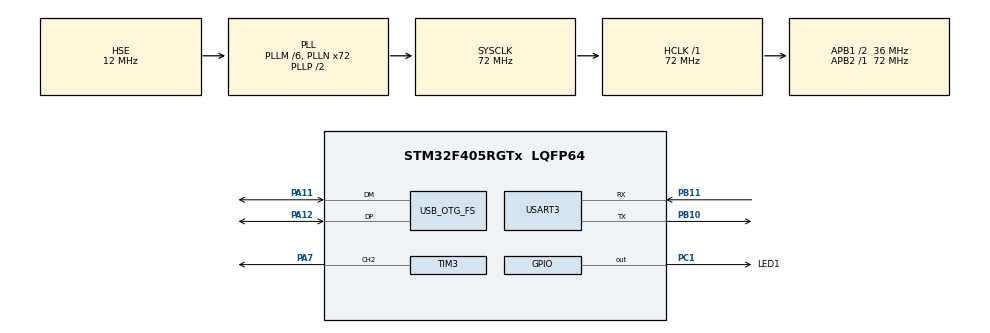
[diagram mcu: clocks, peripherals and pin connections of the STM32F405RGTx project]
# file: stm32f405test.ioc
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Dma.Request0=USART3_RX
Dma.Request1=USART3_TX
Dma.USART3_RX.0.Direction=DMA_PERIPH_TO_MEMORY
Dma.USART3_RX.0.FIFOMode=DMA_FIFOMODE_DISABLE
Dma.USART3_RX.0.Instance=DMA1_Stream1
Dma.USART3_RX.0.MemDataAlignment=DMA_MDATAALIGN_BYTE
Dma.USART3_RX.0.MemInc=DMA_MINC_ENABLE
Dma.USART3_RX.0.Mode=DMA_NORMAL
Dma.USART3_RX.0.PeriphDataAlignment=DMA_PDATAALIGN_BYTE
Dma.USART3_RX.0.PeriphInc=DMA_PINC_DISABLE
Dma.USART3_RX.0.Priority=DMA_PRIORITY_LOW
Dma.USART3_TX.1.Direction=DMA_MEMORY_TO_PERIPH
Dma.USART3_TX.1.FIFOMode=DMA_FIFOMODE_DISABLE
Dma.USART3_TX.1.Instance=DMA1_Stream3
Dma.USART3_TX.1.MemDataAlignment=DMA_MDATAALIGN_BYTE
Dma.USART3_TX.1.MemInc=DMA_MINC_ENABLE
Dma.USART3_TX.1.Mode=DMA_CIRCULAR
Dma.USART3_TX.1.PeriphDataAlignment=DMA_PDATAALIGN_BYTE
Dma.USART3_TX.1.PeriphInc=DMA_PINC_DISABLE
Dma.USART3_TX.1.Priority=DMA_PRIORITY_LOW
Mcu.Family=STM32F4
Mcu.Name=STM32F405RGTx
Mcu.Package=LQFP64
NVIC.DMA1_Stream1_IRQn=true\:0\:0\:false\:false\:true\:false\:true\:true
NVIC.DMA1_Stream3_IRQn=true\:0\:0\:false\:false\:true\:false\:true\:true
NVIC.OTG_FS_IRQn=true\:0\:0\:false\:false\:true\:false\:true\:true
NVIC.PriorityGroup=NVIC_PRIORITYGROUP_4
NVIC.TIM2_IRQn=true\:0\:0\:false\:false\:true\:true\:true\:true
NVIC.TIM3_IRQn=true\:0\:0\:false\:false\:true\:true\:true\:true
NVIC.USART3_IRQn=true\:0\:0\:false\:false\:true\:true\:true\:true
PA11.Mode=Device_Only
PA11.Signal=USB_OTG_FS_DM
PA12.Mode=Device_Only
PA12.Signal=USB_OTG_FS_DP
PA13.Mode=Serial_Wire
PA13.Signal=SYS_JTMS-SWDIO
PA14.Mode=Serial_Wire
PA14.Signal=SYS_JTCK-SWCLK
PA7.Signal=S_TIM3_CH2
PB10.Mode=Asynchronous
PB10.Signal=USART3_TX
PB11.Mode=Asynchronous
PB11.Signal=USART3_RX
PC1.GPIO_Label=LED1
PC1.Signal=GPIO_Output
PC14-OSC32_IN.Mode=LSE-External-Oscillator
PC14-OSC32_IN.Signal=RCC_OSC32_IN
PC15-OSC32_OUT.Mode=LSE-External-Oscillator
PC15-OSC32_OUT.Signal=RCC_OSC32_OUT
PH0-OSC_IN.Mode=HSE-External-Oscillator
PH0-OSC_IN.Signal=RCC_OSC_IN
PH1-OSC_OUT.Mode=HSE-External-Oscillator
PH1-OSC_OUT.Signal=RCC_OSC_OUT
ProjectManager.HeapSize=0x200
ProjectManager.StackSize=0x400
ProjectManager.TargetToolchain=Makefile
RCC.48MHZClocksFreq_Value=48000000
RCC.AHBFreq_Value=72000000
RCC.APB1CLKDivider=RCC_HCLK_DIV2
RCC.APB1Freq_Value=36000000
RCC.APB1TimFreq_Value=72000000
RCC.APB2Freq_Value=72000000
RCC.APB2TimFreq_Value=72000000
RCC.CortexFreq_Value=72000000
RCC.HCLKFreq_Value=72000000
RCC.HSE_VALUE=12000000
RCC.HSI_VALUE=16000000
RCC.PLLM=6
RCC.PLLN=72
RCC.PLLQ=3
RCC.SYSCLKFreq_VALUE=72000000
RCC.SYSCLKSource=RCC_SYSCLKSOURCE_PLLCLK
RCC.VCOOutputFreq_Value=144000000
SH.S_TIM3_CH2.0=TIM3_CH2,Output Compare2 CH2
TIM2.AutoReloadPreload=TIM_AUTORELOAD_PRELOAD_DISABLE
TIM2.Channel-PWM\ Generation1\ No\ Output=TIM_CHANNEL_1
TIM2.Period=1000
TIM2.Prescaler=7200
TIM3.AutoReloadPreload=TIM_AUTORELOAD_PRELOAD_DISABLE
TIM3.Channel-Output\ Compare2\ CH2=TIM_CHANNEL_2
TIM3.OCMode_2=TIM_OCMODE_TOGGLE
TIM3.Period=1000
TIM3.Prescaler=72-1
USART3.VirtualMode=VM_ASYNC
USB_DEVICE.CLASS_NAME_FS=CDC
USB_DEVICE.VirtualMode-CDC_FS=Cdc
USB_DEVICE.VirtualModeFS=Cdc_FS
USB_OTG_FS.VirtualMode=Device_Only
VP_TIM2_VS_ClockSourceINT.Mode=Internal
VP_TIM2_VS_no_output1.Mode=PWM Generation1 No Output
VP_TIM3_VS_ClockSourceINT.Mode=Internal
VP_USB_DEVICE_VS_USB_DEVICE_CDC_FS.Mode=CDC_FS
board=custom

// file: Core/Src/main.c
/* USER CODE BEGIN Header */
/**
  ******************************************************************************
  * @file           : main.c
  * @brief          : Main program body
  ******************************************************************************
  * @attention
  *
  * Copyright (c) 2023 STMicroelectronics.
  * All rights reserved.
  *
  * This software is licensed under terms that can be found in the LICENSE file
  * in the root directory of this software component.
  * If no LICENSE file comes with this software, it is provided AS-IS.
  *
  ******************************************************************************
  */
/* USER CODE END Header */
#include "main.h"
#include "dma.h"
#include "tim.h"
#include "usart.h"
#include "usb_device.h"
#include "gpio.h"

/* USER CODE BEGIN Includes */
#include "string.h"
#include "stdio.h"
#include "usbd_cdc_if.h"
#include "utils_ringbuffer.h"

/* USER CODE END Includes */

void SystemClock_Config(void);

/* USER CODE BEGIN 0 */
  uint8_t UARTRXBUFFER[64];
  uint8_t UARTRXBUFFER_SIZE = 64;

  uint8_t USB_RX_RING_BUFFER[64];
  struct ringbuffer USB_RX_RING_BUFFER_STRUCT;

  uint8_t USART3_RX_RING_BUFFER[64];
  struct ringbuffer USART3_RX_RING_BUFFER_STRUCT;

  uint8_t buzzing = 0;

/* USER CODE END 0 */

int main(void)
{

  /* MCU Configuration--------------------------------------------------------*/

  /* Reset of all peripherals, Initializes the Flash interface and the Systick. */
  HAL_Init();

  /* USER CODE BEGIN Init */
      ringbuffer_init( &USB_RX_RING_BUFFER_STRUCT, USB_RX_RING_BUFFER, sizeof( USB_RX_RING_BUFFER));
      ringbuffer_init( &USART3_RX_RING_BUFFER_STRUCT, USART3_RX_RING_BUFFER, sizeof( USART3_RX_RING_BUFFER));

  /* USER CODE END Init */

  /* Configure the system clock */
  SystemClock_Config();

  /* Initialize all configured peripherals */
  MX_GPIO_Init();
  MX_DMA_Init();
  MX_USART3_UART_Init();
  MX_USB_DEVICE_Init();
  MX_TIM3_Init();
  MX_TIM2_Init();
  /* USER CODE BEGIN 2 */

  char *message = "Hello World!\r\n";
  uint8_t UARTdataRx;
  uint8_t USBdataRx;
  uint32_t buzzerF = 100;

  HAL_UARTEx_ReceiveToIdle_DMA(&huart3, UARTRXBUFFER, UARTRXBUFFER_SIZE);
  //__HAL_DMA_DISABLE_IT(&hdma_usart3_rx, DMA_IT_HT);

 //TIM3->CCR2 = 500;
 //HAL_TIM_OC_Start_IT(&htim3, TIM_CHANNEL_2);
  TIM3->ARR = buzzerF;

  HAL_TIM_Base_Start_IT(&htim2);
  HAL_TIM_PWM_Start_IT(&htim2, TIM_CHANNEL_1);
  TIM2->CCR1 = 100;

  /* USER CODE END 2 */

  /* Infinite loop */
  /* USER CODE BEGIN WHILE */
  uint32_t tick;
  tick = HAL_GetTick();

  while (1)
  {
    if ((HAL_GetTick() - tick) > 1000)
    {
    HAL_GPIO_TogglePin(LED1_GPIO_Port,LED1_Pin);
    tick = HAL_GetTick();
    }

        if (ringbuffer_num( &USB_RX_RING_BUFFER_STRUCT) != 0) {
            ringbuffer_get( &USB_RX_RING_BUFFER_STRUCT, &UARTdataRx);
            HAL_UART_Transmit(&huart3, &UARTdataRx, 1, 100);
            //HAL_TIM_OC_Stop(&htim3,TIM_CHANNEL_2);
            //buzzerF += 10;
            //TIM3->ARR = buzzerF;
        }

        if (ringbuffer_num( &USART3_RX_RING_BUFFER_STRUCT) != 0) {
            ringbuffer_get( &USART3_RX_RING_BUFFER_STRUCT, &USBdataRx);
            CDC_Transmit_FS(&USBdataRx, 1);
        }

    //HAL_UART_Transmit(&huart3, (uint8_t *)message, strlen(message), 100);

    /* USER CODE END WHILE */

  }
}

void SystemClock_Config(void)
{
  RCC_OscInitTypeDef RCC_OscInitStruct = {0};
  RCC_ClkInitTypeDef RCC_ClkInitStruct = {0};

  /** Configure the main internal regulator output voltage
  */
  __HAL_RCC_PWR_CLK_ENABLE();
  __HAL_PWR_VOLTAGESCALING_CONFIG(PWR_REGULATOR_VOLTAGE_SCALE1);

  /** Initializes the RCC Oscillators according to the specified parameters
  * in the RCC_OscInitTypeDef structure.
  */
  RCC_OscInitStruct.OscillatorType = RCC_OSCILLATORTYPE_HSE;
  RCC_OscInitStruct.HSEState = RCC_HSE_ON;
  RCC_OscInitStruct.PLL.PLLState = RCC_PLL_ON;
  RCC_OscInitStruct.PLL.PLLSource = RCC_PLLSOURCE_HSE;
  RCC_OscInitStruct.PLL.PLLM = 6;
  RCC_OscInitStruct.PLL.PLLN = 72;
  RCC_OscInitStruct.PLL.PLLP = RCC_PLLP_DIV2;
  RCC_OscInitStruct.PLL.PLLQ = 3;
  if (HAL_RCC_OscConfig(&RCC_OscInitStruct) != HAL_OK)
  {
    Error_Handler();
  }

  /** Initializes the CPU, AHB and APB buses clocks
  */
  RCC_ClkInitStruct.ClockType = RCC_CLOCKTYPE_HCLK|RCC_CLOCKTYPE_SYSCLK
                              |RCC_CLOCKTYPE_PCLK1|RCC_CLOCKTYPE_PCLK2;
  RCC_ClkInitStruct.SYSCLKSource = RCC_SYSCLKSOURCE_PLLCLK;
  RCC_ClkInitStruct.AHBCLKDivider = RCC_SYSCLK_DIV1;
  RCC_ClkInitStruct.APB1CLKDivider = RCC_HCLK_DIV2;
  RCC_ClkInitStruct.APB2CLKDivider = RCC_HCLK_DIV1;

  if (HAL_RCC_ClockConfig(&RCC_ClkInitStruct, FLASH_LATENCY_2) != HAL_OK)
  {
    Error_Handler();
  }
}

/* USER CODE BEGIN 4 */

void HAL_UARTEx_RxEventCallback(UART_HandleTypeDef *huart, uint16_t Size)
{
    if(huart-> Instance == USART3){
      uint8_t bytes = (uint8_t) Size;
      for (uint8_t i = 0; i < bytes; i++){
        ringbuffer_put(&USART3_RX_RING_BUFFER_STRUCT, UARTRXBUFFER[i]);
      }
      HAL_UARTEx_ReceiveToIdle_DMA(&huart3, UARTRXBUFFER, UARTRXBUFFER_SIZE);
    }
}

void USB_RX_RINGPUFFER_PUT(uint8_t *Buf, uint16_t *Len)
{
    uint8_t bytes = (uint8_t) *Len;
    for (uint8_t i = 0; i < bytes; i++){
    ringbuffer_put(&USB_RX_RING_BUFFER_STRUCT, Buf[i]);
    }
}

void HAL_TIM_PWM_PulseFinishedCallback(TIM_HandleTypeDef *htim){

  if (htim-> Instance == TIM2)
  {
      if (buzzing == 0)
      {
        buzzing = 1;
        HAL_TIM_OC_Start_IT(&htim3, TIM_CHANNEL_2);
      } else
      {
        buzzing = 0;
        HAL_TIM_OC_Stop_IT(&htim3, TIM_CHANNEL_2);
      }
  }
}

/* USER CODE END 4 */

void Error_Handler(void)
{
  __disable_irq();
  while (1)
  {
  }
}
